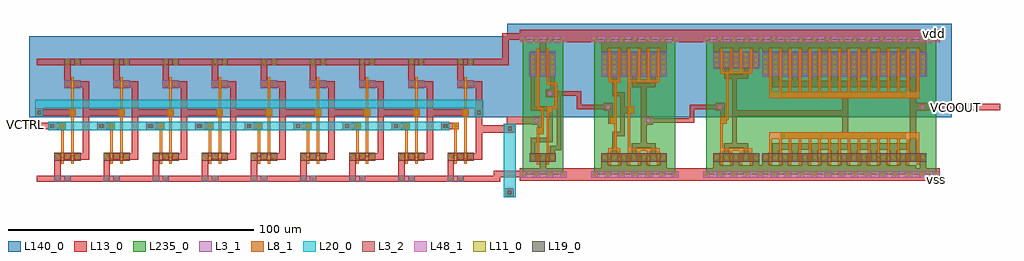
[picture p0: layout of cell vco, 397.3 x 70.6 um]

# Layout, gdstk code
import gdstk
lib = gdstk.Library(unit=1e-6, precision=1e-07)
def R(c, l, rs):  # rectangles x0, y0, x1, y1
    for r in rs: c.add(gdstk.rectangle(r[:2], r[2:], *l))
def A(c, l, x, y, w, h, nx, ny, dx, dy):  # array of equal rectangles
    R(c, l, [(x+i*dx, y+j*dy, x+i*dx+w, y+j*dy+h) for i in range(nx) for j in range(ny)])
def P(c, l, *ps):  # polygons
    for p in ps: c.add(gdstk.Polygon(p, *l))
L3_1 = (3, 1)
L3_2 = (3, 2)
L8_1 = (8, 1)
L11_0 = (11, 0)
L13_0 = (13, 0)
L19_0 = (19, 0)
L20_0 = (20, 0)
L48_1 = (48, 1)
L140_0 = (140, 0)
L235_0 = (235, 0)

buf_x4 = lib.new_cell('BUF_X4')
A(buf_x4, L3_1, -1.3, -1.3, 2.6, 2.6, 7, 1, 5.5, 0)
R(buf_x4, L3_1, [(2.8,39.7,29.4,49.9), (2.8,39.7,29.4,49.9)])
A(buf_x4, L3_2, -1.3, 53.7, 2.6, 2.6, 7, 1, 5.5, 0)
R(buf_x4, L3_2, [(2.8,5.1,29.4,8.5)])
P(buf_x4, L8_1, [(5.6,3.9),(5.6,10.7),(8.1,10.7),(8.1,20.7),(6.5,20.7),(6.5,23.3),(8.1,23.3),(8.1,37.5),(5.6,37.5),(5.6,51.1),(6.6,51.1),(6.6,38.5),(9.6,38.5),(9.6,51.1),(10.6,51.1),(10.6,37.5),(9.1,37.5),(9.1,10.7),(10.6,10.7),(10.6,3.9),(9.6,3.9),(9.6,9.7),(6.6,9.7),(6.6,3.9)],
  [(13.6,3.9),(13.6,51.1),(14.6,51.1),(14.6,38.5),(17.6,38.5),(17.6,51.1),(18.6,51.1),(18.6,38.5),(21.6,38.5),(21.6,51.1),(22.6,51.1),(22.6,38.5),(25.6,38.5),(25.6,51.1),(26.6,51.1),(26.6,37.5),(14.6,37.5),(14.6,27.5),(16.2,27.5),(16.2,24.9),(14.6,24.9),(14.6,10.7),(26.6,10.7),(26.6,3.9),(25.6,3.9),(25.6,9.7),(22.6,9.7),(22.6,3.9),(21.6,3.9),(21.6,9.7),(18.6,9.7),(18.6,3.9),(17.6,3.9),(17.6,9.7),(14.6,9.7),(14.6,3.9)])
A(buf_x4, L11_0, -0.5, -0.5, 1, 1, 7, 2, 5.5, 55)
A(buf_x4, L11_0, 3.6, 6.3, 1, 1, 3, 2, 4, 35)
A(buf_x4, L11_0, 11.6, 6.3, 1, 1, 5, 2, 4, 35)
A(buf_x4, L11_0, 3.6, 43.3, 1, 1, 3, 3, 4, 2)
A(buf_x4, L11_0, 11.6, 43.3, 1, 1, 5, 3, 4, 2)
R(buf_x4, L11_0, [(7.3,21.5,8.3,22.5), (14.4,25.7,15.4,26.7)])
P(buf_x4, L13_0, [(-1.3,-1.3),(-1.3,1.3),(2.8,1.3),(2.8,8.5),(5.4,8.5),(5.4,3.7),(10.8,3.7),(10.8,8.5),(13.4,8.5),(13.4,3.7),(18.8,3.7),(18.8,8.5),(21.4,8.5),(21.4,3.7),(26.8,3.7),(26.8,8.5),(29.4,8.5),(29.4,1.3),(34.3,1.3),(34.3,-1.3)],
  [(5.6,20.7),(5.6,25.8),(3.8,25.8),(3.8,29.2),(7.4,29.2),(7.4,23.3),(9.1,23.3),(9.1,20.7)],
  [(6.8,5.1),(6.8,8.5),(7.2,8.5),(7.2,17.3),(10.5,17.3),(10.5,31.7),(7.2,31.7),(7.2,39.7),(6.8,39.7),(6.8,49.9),(9.4,49.9),(9.4,39.7),(9,39.7),(9,33.5),(12.3,33.5),(12.3,27.5),(16.2,27.5),(16.2,24.9),(12.3,24.9),(12.3,15.5),(9,15.5),(9,8.5),(9.4,8.5),(9.4,5.1)],
  [(14.8,5.1),(14.8,8.5),(15.2,8.5),(15.2,12.7),(18.8,12.7),(18.8,35.5),(15.2,35.5),(15.2,39.7),(14.8,39.7),(14.8,49.9),(17.4,49.9),(17.4,39.7),(17,39.7),(17,37.3),(23.2,37.3),(23.2,39.7),(22.8,39.7),(22.8,49.9),(25.4,49.9),(25.4,39.7),(25,39.7),(25,35.5),(21.4,35.5),(21.4,23.7),(23.7,23.7),(23.7,20.3),(21.4,20.3),(21.4,12.7),(25,12.7),(25,8.5),(25.4,8.5),(25.4,5.1),(22.8,5.1),(22.8,8.5),(23.2,8.5),(23.2,10.9),(17,10.9),(17,8.5),(17.4,8.5),(17.4,5.1)],
  [(2.8,39.7),(2.8,53.7),(-1.3,53.7),(-1.3,56.3),(34.3,56.3),(34.3,53.7),(29.4,53.7),(29.4,39.7),(26.8,39.7),(26.8,51.3),(21.4,51.3),(21.4,39.7),(18.8,39.7),(18.8,51.3),(13.4,51.3),(13.4,39.7),(10.8,39.7),(10.8,51.3),(5.4,51.3),(5.4,39.7)])
R(buf_x4, L48_1, [(-1.3,-1.3,34.3,1.3), (21.1,21.1,22.9,22.9), (4.6,26.6,6.4,28.4), (-1.3,53.7,34.3,56.3)])
R(buf_x4, L140_0, [(-6.3,23.2,39.3,61.3)])
R(buf_x4, L235_0, [(0,0,33,55)])
buf_x4.add(gdstk.Label('Y', (22,22), layer=48, texttype=0))
buf_x4.add(gdstk.Label('A', (5.5,27.5), layer=48, texttype=0))
buf_x4.add(gdstk.Label('vdd', (0,55), layer=48, texttype=0))

buf_x16 = lib.new_cell('BUF_X16')
A(buf_x16, L3_1, -1.3, -1.3, 2.6, 2.6, 18, 1, 5.5, 0)
R(buf_x16, L3_1, [(22.8,39.7,89.4,49.9), (22.8,39.7,89.4,49.9), (2.8,43.1,21.4,49.9), (2.8,43.1,21.4,49.9)])
A(buf_x16, L3_2, -1.3, 53.7, 2.6, 2.6, 18, 1, 5.5, 0)
R(buf_x16, L3_2, [(2.8,5.1,21.4,8.5), (22.8,5.1,89.4,8.5)])
P(buf_x16, L8_1, [(25.6,3.9),(25.6,17.2),(86.6,17.2),(86.6,3.9),(85.6,3.9),(85.6,14.6),(82.6,14.6),(82.6,3.9),(81.6,3.9),(81.6,14.6),(78.6,14.6),(78.6,3.9),(77.6,3.9),(77.6,14.6),(74.6,14.6),(74.6,3.9),(73.6,3.9),(73.6,14.6),(70.6,14.6),(70.6,3.9),(69.6,3.9),(69.6,14.6),(66.6,14.6),(66.6,3.9),(65.6,3.9),(65.6,14.6),(62.6,14.6),(62.6,3.9),(61.6,3.9),(61.6,14.6),(58.6,14.6),(58.6,3.9),(57.6,3.9),(57.6,14.6),(54.6,14.6),(54.6,3.9),(53.6,3.9),(53.6,14.6),(50.6,14.6),(50.6,3.9),(49.6,3.9),(49.6,14.6),(46.6,14.6),(46.6,3.9),(45.6,3.9),(45.6,14.6),(42.6,14.6),(42.6,3.9),(41.6,3.9),(41.6,14.6),(38.6,14.6),(38.6,3.9),(37.6,3.9),(37.6,14.6),(34.6,14.6),(34.6,3.9),(33.6,3.9),(33.6,14.6),(30.6,14.6),(30.6,3.9),(29.6,3.9),(29.6,14.6),(26.6,14.6),(26.6,3.9)],
  [(5.6,3.9),(5.6,23.3),(8.1,23.3),(8.1,40.9),(5.6,40.9),(5.6,51.1),(6.6,51.1),(6.6,41.9),(9.6,41.9),(9.6,51.1),(10.6,51.1),(10.6,41.9),(13.6,41.9),(13.6,51.1),(14.6,51.1),(14.6,41.9),(17.6,41.9),(17.6,51.1),(18.6,51.1),(18.6,40.9),(9.1,40.9),(9.1,22.3),(8.2,22.3),(8.2,20.7),(6.6,20.7),(6.6,10.7),(18.6,10.7),(18.6,3.9),(17.6,3.9),(17.6,9.7),(14.6,9.7),(14.6,3.9),(13.6,3.9),(13.6,9.7),(10.6,9.7),(10.6,3.9),(9.6,3.9),(9.6,9.7),(6.6,9.7),(6.6,3.9)],
  [(25.6,31),(25.6,51.1),(26.6,51.1),(26.6,33.6),(29.6,33.6),(29.6,51.1),(30.6,51.1),(30.6,33.6),(33.6,33.6),(33.6,51.1),(34.6,51.1),(34.6,33.6),(37.6,33.6),(37.6,51.1),(38.6,51.1),(38.6,33.6),(41.6,33.6),(41.6,51.1),(42.6,51.1),(42.6,33.6),(45.6,33.6),(45.6,51.1),(46.6,51.1),(46.6,33.6),(49.6,33.6),(49.6,51.1),(50.6,51.1),(50.6,33.6),(53.6,33.6),(53.6,51.1),(54.6,51.1),(54.6,33.6),(57.6,33.6),(57.6,51.1),(58.6,51.1),(58.6,33.6),(61.6,33.6),(61.6,51.1),(62.6,51.1),(62.6,33.6),(65.6,33.6),(65.6,51.1),(66.6,51.1),(66.6,33.6),(69.6,33.6),(69.6,51.1),(70.6,51.1),(70.6,33.6),(73.6,33.6),(73.6,51.1),(74.6,51.1),(74.6,33.6),(77.6,33.6),(77.6,51.1),(78.6,51.1),(78.6,33.6),(81.6,33.6),(81.6,51.1),(82.6,51.1),(82.6,33.6),(85.6,33.6),(85.6,51.1),(86.6,51.1),(86.6,31)])
A(buf_x16, L11_0, -0.5, -0.5, 1, 1, 18, 2, 5.5, 55)
A(buf_x16, L11_0, 3.6, 6.3, 1, 1, 22, 1, 4, 0)
A(buf_x16, L11_0, 23.6, 41.3, 1, 1, 17, 4, 4, 2)
A(buf_x16, L11_0, 3.6, 44, 1, 1, 5, 3, 4, 2)
R(buf_x16, L11_0, [(31.1,15.4,32.1,16.4), (46.4,15.4,47.4,16.4), (63.4,15.4,64.4,16.4), (79.4,15.4,80.4,16.4), (6.4,21.5,7.4,22.5), (31.1,31.8,32.1,32.8), (46.6,31.8,47.6,32.8), (63.6,31.8,64.6,32.8), (79.6,31.8,80.6,32.8)])
P(buf_x16, L13_0, [(-1.3,-1.3),(-1.3,1.3),(2.8,1.3),(2.8,8.5),(5.4,8.5),(5.4,3.7),(10.8,3.7),(10.8,8.5),(13.4,8.5),(13.4,3.7),(18.8,3.7),(18.8,8.5),(21.4,8.5),(21.4,3.7),(22.8,3.7),(22.8,8.5),(25.4,8.5),(25.4,3.7),(30.8,3.7),(30.8,8.5),(33.4,8.5),(33.4,3.7),(38.8,3.7),(38.8,8.5),(41.4,8.5),(41.4,3.7),(46.8,3.7),(46.8,8.5),(49.4,8.5),(49.4,3.7),(54.8,3.7),(54.8,8.5),(57.4,8.5),(57.4,3.7),(62.8,3.7),(62.8,8.5),(65.4,8.5),(65.4,3.7),(70.8,3.7),(70.8,8.5),(73.4,8.5),(73.4,3.7),(78.8,3.7),(78.8,8.5),(81.4,8.5),(81.4,3.7),(85.4,3.7),(85.4,1.3),(86.8,1.3),(86.8,8.5),(89.4,8.5),(89.4,1.3),(94.8,1.3),(94.8,-1.3)],
  [(5.6,20.7),(5.6,25.8),(3.8,25.8),(3.8,29.2),(7.4,29.2),(7.4,23.3),(8.2,23.3),(8.2,20.7)],
  [(6.8,5.1),(6.8,8.5),(7.2,8.5),(7.2,12.7),(10.5,12.7),(10.5,38.9),(7.2,38.9),(7.2,43.1),(6.8,43.1),(6.8,49.9),(9.4,49.9),(9.4,43.1),(9,43.1),(9,40.7),(15.2,40.7),(15.2,43.1),(14.8,43.1),(14.8,49.9),(17.4,49.9),(17.4,43.1),(17,43.1),(17,38.9),(12.3,38.9),(12.3,26.2),(55.2,26.2),(55.2,31),(30.3,31),(30.3,33.6),(81.4,33.6),(81.4,31),(57.8,31),(57.8,17.2),(81.2,17.2),(81.2,14.6),(30.3,14.6),(30.3,17.2),(55.2,17.2),(55.2,23.6),(12.3,23.6),(12.3,12.7),(17,12.7),(17,8.5),(17.4,8.5),(17.4,5.1),(14.8,5.1),(14.8,8.5),(15.2,8.5),(15.2,10.9),(9,10.9),(9,8.5),(9.4,8.5),(9.4,5.1)],
  [(26.8,5.1),(26.8,12.7),(82.8,12.7),(82.8,35.5),(26.8,35.5),(26.8,49.9),(29.4,49.9),(29.4,38.1),(34.8,38.1),(34.8,49.9),(37.4,49.9),(37.4,38.1),(42.8,38.1),(42.8,49.9),(45.4,49.9),(45.4,38.1),(50.8,38.1),(50.8,49.9),(53.4,49.9),(53.4,38.1),(58.8,38.1),(58.8,49.9),(61.4,49.9),(61.4,38.1),(66.8,38.1),(66.8,49.9),(69.4,49.9),(69.4,38.1),(74.8,38.1),(74.8,49.9),(77.4,49.9),(77.4,38.1),(82.8,38.1),(82.8,49.9),(85.4,49.9),(85.4,29.2),(89.7,29.2),(89.7,25.8),(85.4,25.8),(85.4,5.1),(82.8,5.1),(82.8,10.1),(77.4,10.1),(77.4,5.1),(74.8,5.1),(74.8,10.1),(69.4,10.1),(69.4,5.1),(66.8,5.1),(66.8,10.1),(61.4,10.1),(61.4,5.1),(58.8,5.1),(58.8,10.1),(53.4,10.1),(53.4,5.1),(50.8,5.1),(50.8,10.1),(45.4,10.1),(45.4,5.1),(42.8,5.1),(42.8,10.1),(37.4,10.1),(37.4,5.1),(34.8,5.1),(34.8,10.1),(29.4,10.1),(29.4,5.1)],
  [(22.8,39.7),(22.8,51.3),(21.4,51.3),(21.4,43.1),(18.8,43.1),(18.8,51.3),(13.4,51.3),(13.4,43.1),(10.8,43.1),(10.8,51.3),(5.4,51.3),(5.4,43.1),(2.8,43.1),(2.8,53.7),(-1.3,53.7),(-1.3,56.3),(94.8,56.3),(94.8,53.7),(89.4,53.7),(89.4,39.7),(86.8,39.7),(86.8,51.3),(81.4,51.3),(81.4,39.7),(78.8,39.7),(78.8,51.3),(73.4,51.3),(73.4,39.7),(70.8,39.7),(70.8,51.3),(65.4,51.3),(65.4,39.7),(62.8,39.7),(62.8,51.3),(57.4,51.3),(57.4,39.7),(54.8,39.7),(54.8,51.3),(49.4,51.3),(49.4,39.7),(46.8,39.7),(46.8,51.3),(41.4,51.3),(41.4,39.7),(38.8,39.7),(38.8,51.3),(33.4,51.3),(33.4,39.7),(30.8,39.7),(30.8,51.3),(25.4,51.3),(25.4,39.7)])
R(buf_x16, L48_1, [(-1.3,-1.3,94.8,1.3), (4.6,26.6,6.4,28.4), (4.6,26.6,6.4,28.4), (87.1,26.6,88.9,28.4), (-1.3,53.7,94.8,56.3)])
R(buf_x16, L140_0, [(-6.3,23.2,99.8,61.3)])
R(buf_x16, L235_0, [(0,0,93.5,55)])
buf_x16.add(gdstk.Label('vdd', (0,55), layer=48, texttype=0))
buf_x16.add(gdstk.Label('Y', (88,27.5), layer=48, texttype=0))
buf_x16.add(gdstk.Label('A', (5.5,27.5), layer=48, texttype=0))
buf_x16.add(gdstk.Label('A', (5.5,27.5), layer=48, texttype=0))
buf_x16.add(gdstk.Label('gnd', (0,0), layer=48, texttype=0))

via_1 = lib.new_cell('via_1')
R(via_1, L13_0, [(-1.7,-1.7,1.7,1.7)])
R(via_1, L19_0, [(-0.7,-0.7,0.7,0.7)])
R(via_1, L20_0, [(-1.7,-1.7,1.7,1.7)])

buf_x1 = lib.new_cell('BUF_X1')
A(buf_x1, L3_1, -1.3, -1.3, 2.6, 2.6, 4, 1, 5.5, 0)
R(buf_x1, L3_1, [(2.8,39.7,13.4,49.9), (2.8,39.7,13.4,49.9)])
A(buf_x1, L3_2, -1.3, 53.7, 2.6, 2.6, 4, 1, 5.5, 0)
R(buf_x1, L3_2, [(2.8,5.1,13.4,8.5)])
P(buf_x1, L8_1, [(5.6,3.9),(5.6,18.9),(7.4,18.9),(7.4,26.4),(5.6,26.4),(5.6,51.1),(6.6,51.1),(6.6,27.4),(8.4,27.4),(8.4,16.3),(6.6,16.3),(6.6,3.9)],
  [(9.6,3.9),(9.6,27.7),(12.9,27.7),(12.9,36.4),(9.6,36.4),(9.6,51.1),(10.6,51.1),(10.6,37.4),(13.9,37.4),(13.9,26.7),(12.2,26.7),(12.2,25.1),(10.6,25.1),(10.6,3.9)])
A(buf_x1, L11_0, -0.5, -0.5, 1, 1, 4, 2, 5.5, 55)
A(buf_x1, L11_0, 3.6, 41.3, 1, 1, 1, 4, 0, 2)
A(buf_x1, L11_0, 11.6, 41.3, 1, 1, 1, 4, 0, 2)
R(buf_x1, L11_0, [(3.6,6.3,4.6,7.3), (7.6,6.3,8.6,7.3), (7.6,6.3,8.6,7.3), (11.6,6.3,12.6,7.3), (6.4,17.1,7.4,18.1), (10.4,25.9,11.4,26.9), (7.6,41.3,8.6,42.3), (7.6,41.3,8.6,42.3), (7.6,43.3,8.6,44.3), (7.6,43.3,8.6,44.3), (7.6,45.3,8.6,46.3), (7.6,45.3,8.6,46.3), (7.6,47.3,8.6,48.3), (7.6,47.3,8.6,48.3)])
P(buf_x1, L13_0, [(-1.3,-1.3),(-1.3,1.3),(6.8,1.3),(6.8,8.5),(9.4,8.5),(9.4,1.3),(17.8,1.3),(17.8,-1.3)],
  [(5.6,16.3),(5.6,18.9),(6,18.9),(6,20.3),(3.8,20.3),(3.8,23.7),(7.8,23.7),(7.8,18.9),(8.2,18.9),(8.2,16.3)],
  [(2.8,5.1),(2.8,8.5),(3.2,8.5),(3.2,14.9),(10.4,14.9),(10.4,25.1),(9.6,25.1),(9.6,25.9),(3.2,25.9),(3.2,39.7),(2.8,39.7),(2.8,49.9),(5.4,49.9),(5.4,39.7),(5,39.7),(5,27.7),(12.2,27.7),(12.2,13.1),(5,13.1),(5,8.5),(5.4,8.5),(5.4,5.1)],
  [(10.8,5.1),(10.8,8.5),(11.2,8.5),(11.2,11.7),(13.8,11.7),(13.8,31.3),(9.3,31.3),(9.3,34.7),(11.2,34.7),(11.2,39.7),(10.8,39.7),(10.8,49.9),(13.4,49.9),(13.4,39.7),(13,39.7),(13,33.1),(15.6,33.1),(15.6,9.9),(13,9.9),(13,8.5),(13.4,8.5),(13.4,5.1)],
  [(6.8,39.7),(6.8,53.7),(-1.3,53.7),(-1.3,56.3),(17.8,56.3),(17.8,53.7),(9.4,53.7),(9.4,39.7)])
R(buf_x1, L48_1, [(-1.3,-1.3,17.8,1.3), (4.6,21.1,6.4,22.9), (10.1,32.1,11.9,33.9), (-1.3,53.7,17.8,56.3)])
R(buf_x1, L140_0, [(-6.3,23.2,22.8,61.3)])
R(buf_x1, L235_0, [(0,0,16.5,55)])
buf_x1.add(gdstk.Label('vdd', (0,55), layer=48, texttype=0))
buf_x1.add(gdstk.Label('gnd', (0,0), layer=48, texttype=0))
buf_x1.add(gdstk.Label('Y', (11,33), layer=48, texttype=0))
buf_x1.add(gdstk.Label('A', (5.5,22), layer=48, texttype=0))

fet_n = lib.new_cell('fet_n')
R(fet_n, L3_2, [(-5.3,-1.7,5.3,1.7)])
A(fet_n, L11_0, -4.5, -0.5, 1, 1, 3, 1, 4, 0)
A(fet_n, L13_0, -5.3, -1.3, 2.6, 2.6, 3, 1, 4, 0)
fet_n.add(gdstk.FlexPath([(2,-2.9),(2,2.9)], 1, ends="flush", simple_path=True, layer=8, datatype=1))  # L8_1
fet_n.add(gdstk.FlexPath([(-2,-2.9),(-2,2.9)], 1, ends="flush", simple_path=True, layer=8, datatype=1))  # L8_1

fet_p = lib.new_cell('fet_p')
R(fet_p, L3_1, [(-3.3,-1.7,3.3,1.7)])
R(fet_p, L11_0, [(-2.5,-0.5,-1.5,0.5), (1.5,-0.5,2.5,0.5)])
R(fet_p, L13_0, [(-3.3,-1.3,-0.7,1.3), (0.7,-1.3,3.3,1.3)])
fet_p.add(gdstk.FlexPath([(0,-2.9),(0,2.9)], 1, ends="flush", simple_path=True, layer=8, datatype=1))  # L8_1

cont_g = lib.new_cell('cont_g')
R(cont_g, L8_1, [(-1.3,-1.3,1.3,1.3)])
R(cont_g, L11_0, [(-0.5,-0.5,0.5,0.5)])
R(cont_g, L13_0, [(-1.3,-1.3,1.3,1.3)])

cont_p = lib.new_cell('cont_p')
R(cont_p, L3_1, [(-1.3,-1.3,1.3,1.3)])
R(cont_p, L11_0, [(-0.5,-0.5,0.5,0.5)])
R(cont_p, L13_0, [(-1.3,-1.3,1.3,1.3)])

cont_n = lib.new_cell('cont_n')
R(cont_n, L3_2, [(-1.3,-1.3,1.3,1.3)])
R(cont_n, L11_0, [(-0.5,-0.5,0.5,0.5)])
R(cont_n, L13_0, [(-1.3,-1.3,1.3,1.3)])

csi = lib.new_cell('csi')
R(csi, L140_0, [(0,26.3,35,59.3)])
csi.add(gdstk.FlexPath([(19.5,39.8),(23,39.8),(23,10.3),(19.5,10.3)], 2.6, ends="flush", simple_path=True, layer=13, datatype=0))  # L13_0
csi.add(gdstk.FlexPath([(15.5,39.8),(15.5,48.8)], 2.6, ends="flush", simple_path=True, layer=13, datatype=0))  # L13_0
csi.add(gdstk.FlexPath([(11.5,1.3),(11.5,10.3)], 2.6, ends="flush", simple_path=True, layer=13, datatype=0))  # L13_0
csi.add(gdstk.FlexPath([(3,28.3),(17.5,28.3),(17.5,28.3)], 2.6, ends="flush", simple_path=True, layer=13, datatype=0))  # L13_0
csi.add(gdstk.FlexPath([(3,1.3),(24.5,1.3),(24.5,1.3)], 2.6, ends="flush", simple_path=True, layer=13, datatype=0))  # L13_0
csi.add(gdstk.FlexPath([(3,48.8),(24.8,48.8),(24.8,48.8)], 2.6, ends="flush", simple_path=True, layer=13, datatype=0))  # L13_0
csi.add(gdstk.FlexPath([(13.5,22.8),(8,22.8)], 2.6, ends="flush", simple_path=True, layer=13, datatype=0))  # L13_0
csi.add(gdstk.FlexPath([(17.5,37.3),(17.5,12.8)], 1, ends="flush", simple_path=True, layer=8, datatype=1))  # L8_1
csi.add(gdstk.FlexPath([(13.5,23.3),(13.5,12.8)], 1, ends="flush", simple_path=True, layer=8, datatype=1))  # L8_1
csi.add(gdstk.Reference(fet_n, (15.5,10.3)))
csi.add(gdstk.Reference(fet_p, (17.5,39.8)))
csi.add(gdstk.Reference(cont_g, (17.5,28.3)))
csi.add(gdstk.Reference(cont_g, (13.5,22.8)))
csi.add(gdstk.Reference(cont_p, (11.5,1.3)))
csi.add(gdstk.Reference(cont_n, (15.5,48.8)))
csi.add(gdstk.Reference(cont_n, (19.5,48.8)))
csi.add(gdstk.Reference(cont_p, (15.5,1.3)))
csi.add(gdstk.Reference(via_1, (9.3,22.8)))
csi.add(gdstk.Label('VDD', (12,49), layer=48, texttype=0))
csi.add(gdstk.Label('VSS', (23,1.5), layer=48, texttype=0))
csi.add(gdstk.Label('A', (15.5,29), layer=48, texttype=0))
csi.add(gdstk.Label('V', (11.3,23.3), layer=48, texttype=0))
csi.add(gdstk.Label('Q', (23.5,31), layer=48, texttype=0))

vco = lib.new_cell('vco')
vco.add(gdstk.FlexPath([(30.8,84.5),(20.3,84.5)], 2.6, ends="flush", simple_path=True, layer=13, datatype=0))  # L13_0
vco.add(gdstk.FlexPath([(227.6,86.8),(218.4,86.8),(218.4,81.8)], 3, ends="flush", simple_path=True, layer=13, datatype=0))  # L13_0
vco.add(gdstk.FlexPath([(222.1,121.1),(393.1,121.1)], 5, ends="flush", simple_path=True, layer=13, datatype=0))  # L13_0
vco.add(gdstk.FlexPath([(222.1,64.8),(393.1,64.8)], 5, ends="flush", simple_path=True, layer=13, datatype=0))  # L13_0
vco.add(gdstk.FlexPath([(234.3,97.8),(246.3,97.8),(246.3,92.3),(257.8,92.3)], 1.8, ends="flush", simple_path=True, layer=13, datatype=0))  # L13_0
vco.add(gdstk.FlexPath([(274.3,86.8),(292.3,86.8),(292.3,92.3),(303.3,92.3)], 1.8, ends="flush", simple_path=True, layer=13, datatype=0))  # L13_0
vco.add(gdstk.FlexPath([(206.3,63),(212.8,63),(212.8,65),(223,65)], 2.6, ends="flush", simple_path=True, layer=13, datatype=0))  # L13_0
vco.add(gdstk.FlexPath([(385.1,92.3),(417.6,92.3)], 2.6, ends="flush", simple_path=True, layer=13, datatype=0))  # L13_0
vco.add(gdstk.FlexPath([(207.1,110.5),(216.3,110.5),(216.3,121),(222.3,121)], 2.6, ends="flush", simple_path=True, layer=13, datatype=0))  # L13_0
vco.add(gdstk.FlexPath([(218.5,83.3),(205.5,83.3)], 3, ends="flush", simple_path=True, layer=13, datatype=0))  # L13_0
vco.add(gdstk.FlexPath([(218,85.5),(218,55.5)], 5, ends="flush", simple_path=True, layer=20, datatype=0))  # L20_0
vco.add(gdstk.FlexPath([(26.5,90),(26.5,93.5),(205.5,93.5),(205.5,90)], 3.4, ends="flush", simple_path=True, layer=20, datatype=0))  # L20_0
vco.add(gdstk.FlexPath([(31.8,84.5),(191.8,84.5)], 3.4, ends="flush", simple_path=True, layer=20, datatype=0))  # L20_0
vco.add(gdstk.Reference(buf_x4, (252.5,64.8)))
vco.add(gdstk.Reference(buf_x16, (298.1,64.8)))
vco.add(gdstk.Reference(via_1, (205.5,90)))
vco.add(gdstk.Reference(via_1, (218,57.5)))
vco.add(gdstk.Reference(buf_x1, (223.4,64.8)))
vco.add(gdstk.Reference(via_1, (218.1,83.5)))
vco.add(gdstk.Reference(via_1, (26.5,90)))
r = gdstk.Reference(csi, (22.5,61.7)); r.repetition = gdstk.Repetition(9, 1, v1=(20,0), v2=(0,0)); vco.add(r)
vco.add(gdstk.Label('VCOOUT', (399.3,92), layer=48, texttype=0))
vco.add(gdstk.Label('vss', (391.6,62.7), layer=48, texttype=0))
vco.add(gdstk.Label('vdd', (391.1,122.3), layer=48, texttype=0))
vco.add(gdstk.Label('VCTRL', (20.8,85), layer=48, texttype=0))

lib.write_gds('vco.gds')
